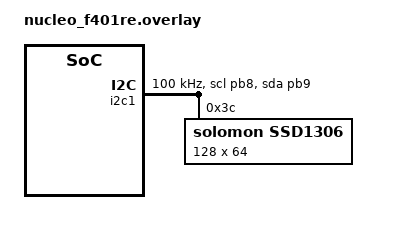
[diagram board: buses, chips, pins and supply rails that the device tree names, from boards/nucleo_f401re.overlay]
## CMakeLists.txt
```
# Minimum required version of CMake
cmake_minimum_required(VERSION 3.20.0)

# Find the Zephyr package to pull in the build system
find_package(Zephyr REQUIRED HINTS $ENV{ZEPHYR_BASE})

# Define your project name
project(oled_hello)

# Add your source files (typically in a src/ directory)
target_sources(app PRIVATE src/main.c)
```

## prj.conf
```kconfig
CONFIG_I2C=y
CONFIG_DISPLAY=y
CONFIG_SSD1306=y
CONFIG_CHARACTER_FRAMEBUFFER=y
CONFIG_HEAP_MEM_POOL_SIZE=16384
CONFIG_MAIN_STACK_SIZE=2048
```

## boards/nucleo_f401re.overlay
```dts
&pinctrl {
    i2c1_scl_pb8: i2c1_scl_pb8 {
        pinmux = <STM32_PINMUX('B', 8, AF4)>;
        bias-pull-up;
        drive-open-drain;
    };
    i2c1_sda_pb9: i2c1_sda_pb9 {
        pinmux = <STM32_PINMUX('B', 9, AF4)>;
        bias-pull-up;
        drive-open-drain;
    };
};

/ {
    chosen {
        zephyr,display = &ssd1306;
    };
};

&i2c1 {
    status = "okay";
    pinctrl-0 = <&i2c1_scl_pb8 &i2c1_sda_pb9>;
    pinctrl-names = "default";
    clock-frequency = <I2C_BITRATE_STANDARD>;

    ssd1306: ssd1306@3c {
        compatible = "solomon,ssd1306";   /* ← no -i2c suffix */
        status = "okay";
        reg = <0x3c>;
        width = <128>;
        height = <64>;
        segment-offset = <0>;
        page-offset = <0>;
        display-offset = <0>;
        multiplex-ratio = <63>;
        prechargep = <0x22>;
    };
};
```

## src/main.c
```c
#include <zephyr/kernel.h>
#include <zephyr/device.h>
#include <zephyr/drivers/display.h>
#include <zephyr/display/cfb.h>

int main(void)
{
    /* Get a handle to the SSD1306 device defined in the overlay */
    const struct device *display = DEVICE_DT_GET(DT_NODELABEL(ssd1306));

    /* Check the device is ready before using it */
    if (!device_is_ready(display)) {
        printk("SSD1306 device not ready!\n");
        return -1;
    }

    /* Turn the display on (exit sleep mode) */
    display_blanking_off(display);

    /* Initialize the Character Frame Buffer */
    if (cfb_framebuffer_init(display)) {
        printk("CFB init failed!\n");
        return -1;
    }

    /* Clear the screen */
    cfb_framebuffer_clear(display, true);

    /* Print text at position (column=0, row=0) */
    cfb_print(display, "Hello, World!", 0, 0);
    cfb_print(display, "Zephyr RTOS", 0, 16);
    cfb_print(display, "STM32 F401RE", 0, 32);

    /* Push the frame buffer to the display */
    cfb_framebuffer_finalize(display);

    printk("Display initialized successfully!\n");

    /* Keep the program running */
    while (1) {
        k_sleep(K_SECONDS(1));
    }

    return 0;
}
```
